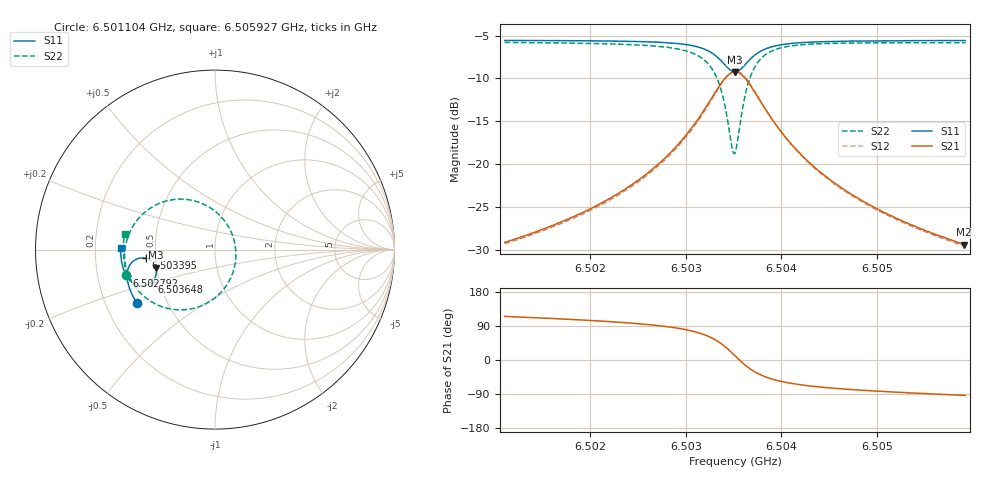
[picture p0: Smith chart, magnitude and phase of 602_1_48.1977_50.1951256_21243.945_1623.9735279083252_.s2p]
#  HZ  S  RI  R  50.00
! Rohde & Schwarz Vector Network Analyzer
! Rohde-Schwarz,ZNB20-2Port,1311601062101988,3.16
! Created: UTC 3/20/2024, 12:03:02 PM
! freq[Hz]  re:S11  im:S11  re:S21  im:S21  re:S12  im:S12  re:S22  im:S22
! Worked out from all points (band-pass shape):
!   401 points, 6.501104 GHz to 6.505927 GHz, reference 50 ohm
!   highest |S21| = -9.22 dB at 6.503515 GHz (marker M1); lowest = -29.4 dB at 6.505915 GHz (marker M2)
!   |S21| within 3 dB of the highest: 6.503275 GHz to 6.503757 GHz (482 kHz wide, 0.00741 % of centre)
!   lowest |S11| = -9.2 dB at 6.503515 GHz (marker M3), VSWR 2.05, Z = 24.8 - j5.68 ohm
!   |S11| at or under -10 dB: nowhere
!   |S22| runs from -18.8 to -5.8 dB; largest |S21 - S12| = 0.012
!   S11 on the Smith chart (normalised r, x): 6.501104 GHz: 0.34, -0.28; 6.502792 GHz: 0.33, -0.13; 6.503395 GHz: 0.44, -0.05; 6.503648 GHz: 0.45, -0.19; 6.505927 GHz: 0.31, +0.01
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6.5011039e9  -0.4333 -0.3001  -0.0149 0.0315  -0.0132 0.0317  -0.4933 -0.1421
6.5019118e9  -0.4671 -0.2389  -0.0141 0.0499  -0.0115 0.0495  -0.5043 -0.0536
6.502382e9  -0.4828 -0.1959  -0.0104 0.0716  -0.0074 0.0706  -0.4991 0.0165
6.5027196e9  -0.4901 -0.157  -0.00114 0.1007  0.0025 0.0985  -0.4784 0.0882
6.502792e9  -0.4904 -0.147  0.00303 0.1098  0.00679 0.107  -0.4694 0.1076
6.502997e9  -0.4864 -0.1135  0.0248 0.1439  0.0284 0.1398  -0.4241 0.1755
6.5031537e9  -0.4712 -0.0812  0.0649 0.1806  0.0676 0.1748  -0.346 0.2396
6.5032984e9  -0.4325 -0.0514  0.1481 0.2098  0.1486 0.2037  -0.1946 0.2813
6.5033949e9  -0.3849 -0.0486  0.2412 0.193  0.2415 0.1886  -0.0334 0.2375
6.5034793e9  -0.3411 -0.0786  0.3212 0.117  0.3239 0.1131  0.0946 0.0877
6.5035155e9  -0.33 -0.1011  0.3392 0.0671  0.3432 0.0621  0.1157 -0.0058
6.5035396e9  -0.3269 -0.118  0.3427 0.0318  0.3471 0.0251  0.1136 -0.0708
6.5035757e9  -0.329 -0.1426  0.3353 -0.0197  0.3392 -0.0283  0.0858 -0.1617
6.5036481e9  -0.3518 -0.1808  0.2874 -0.0976  0.2878 -0.1093  -0.0271 -0.288
6.5037566e9  -0.3985 -0.2016  0.1984 -0.1436  0.1932 -0.1538  -0.2073 -0.3356
6.5039134e9  -0.4466 -0.1921  0.1126 -0.1395  0.1056 -0.1449  -0.3616 -0.2859
6.5040822e9  -0.4749 -0.1707  0.0661 -0.1179  0.0598 -0.1204  -0.4364 -0.2181
6.5043233e9  -0.4962 -0.1408  0.0351 -0.0922  0.0302 -0.0926  -0.4811 -0.1436
6.5046851e9  -0.5118 -0.1019  0.0155 -0.0677  0.0121 -0.0673  -0.5043 -0.0677
6.5051312e9  -0.5213 -0.0599  0.00523 -0.0501  0.00295 -0.0495  -0.5109 -0.00175
6.505915e9  -0.5265 0.00715  -0.00189 -0.0338  -0.00321 -0.0332  -0.5041 0.0838
6.505927e9  -0.5265 0.00819  -0.00196 -0.0338  -0.00338 -0.033  -0.504 0.0849
